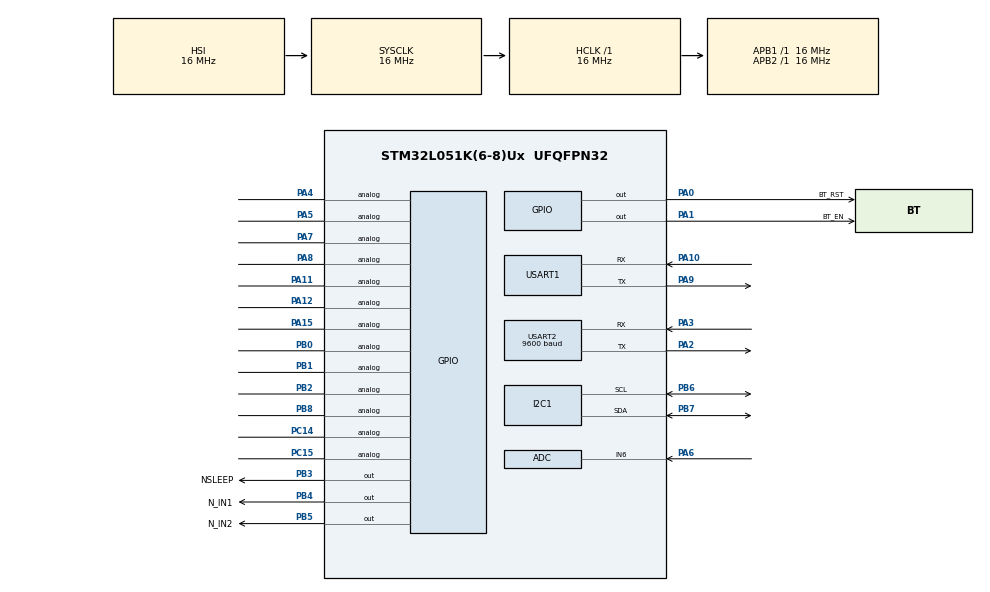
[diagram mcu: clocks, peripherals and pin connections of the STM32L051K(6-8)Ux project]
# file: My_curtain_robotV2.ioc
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Dma.Request0=USART2_RX
Dma.USART2_RX.0.Direction=DMA_PERIPH_TO_MEMORY
Dma.USART2_RX.0.Instance=DMA1_Channel5
Dma.USART2_RX.0.MemDataAlignment=DMA_MDATAALIGN_BYTE
Dma.USART2_RX.0.MemInc=DMA_MINC_ENABLE
Dma.USART2_RX.0.Mode=DMA_NORMAL
Dma.USART2_RX.0.PeriphDataAlignment=DMA_PDATAALIGN_BYTE
Dma.USART2_RX.0.PeriphInc=DMA_PINC_DISABLE
Dma.USART2_RX.0.Priority=DMA_PRIORITY_LOW
I2C1.Timing=0x00303D5B
Mcu.Family=STM32L0
Mcu.Name=STM32L051K(6-8)Ux
Mcu.Package=UFQFPN32
NVIC.DMA1_Channel4_5_6_7_IRQn=true\:0\:0\:false\:false\:true\:false\:true\:true
NVIC.I2C1_IRQn=true\:1\:0\:true\:false\:true\:true\:true\:true
NVIC.RTC_IRQn=true\:0\:0\:false\:false\:true\:true\:true\:true
NVIC.USART2_IRQn=true\:0\:0\:false\:false\:true\:true\:true\:true
PA0.GPIO_Label=BT_RST
PA0.Signal=GPIO_Output
PA1.GPIO_Label=BT_EN
PA1.PinState=GPIO_PIN_SET
PA1.Signal=GPIO_Output
PA10.Mode=Asynchronous
PA10.Signal=USART1_RX
PA11.Signal=GPIO_Analog
PA12.Signal=GPIO_Analog
PA13.Mode=Serial_Wire
PA13.Signal=SYS_SWDIO
PA14.Mode=Serial_Wire
PA14.Signal=SYS_SWCLK
PA15.Signal=GPIO_Analog
PA2.Mode=Asynchronous
PA2.Signal=USART2_TX
PA3.GPIO_PuPd=GPIO_PULLDOWN
PA3.Mode=Asynchronous
PA3.Signal=USART2_RX
PA4.Signal=GPIO_Analog
PA5.Signal=GPIO_Analog
PA6.Mode=IN6
PA6.Signal=ADC_IN6
PA7.Signal=GPIO_Analog
PA8.Signal=GPIO_Analog
PA9.Mode=Asynchronous
PA9.Signal=USART1_TX
PB0.Signal=GPIO_Analog
PB1.Signal=GPIO_Analog
PB2.Signal=GPIO_Analog
PB3.GPIO_Label=NSLEEP
PB3.Signal=GPIO_Output
PB4.GPIO_Label=N_IN1
PB4.Signal=GPIO_Output
PB5.GPIO_Label=N_IN2
PB5.Signal=GPIO_Output
PB6.GPIO_Pu=GPIO_PULLUP
PB6.Mode=I2C
PB6.Signal=I2C1_SCL
PB7.GPIO_Pu=GPIO_PULLUP
PB7.Mode=I2C
PB7.Signal=I2C1_SDA
PB8.Signal=GPIO_Analog
PC14-OSC32_IN.Signal=GPIO_Analog
PC15-OSC32_OUT.Signal=GPIO_Analog
ProjectManager.HeapSize=0x200
ProjectManager.StackSize=0x400
ProjectManager.TargetToolchain=MDK-ARM V5.27
RCC.AHBFreq_Value=16000000
RCC.APB1Freq_Value=16000000
RCC.APB1TimFreq_Value=16000000
RCC.APB2Freq_Value=16000000
RCC.APB2TimFreq_Value=16000000
RCC.HCLKFreq_Value=16000000
RCC.HSI16_VALUE=16000000
RCC.HSI_VALUE=16000000
RCC.LSE_VALUE=32768
RCC.MSI_VALUE=2097000
RCC.SYSCLKFreq_VALUE=16000000
RCC.SYSCLKSource=RCC_SYSCLKSOURCE_HSI
RCC.VCOOutputFreq_Value=48000000
RTC.SynchPrediv=289
RTC.WakeUpClock=RTC_WAKEUPCLOCK_CK_SPRE_16BITS
USART1.VirtualMode-Asynchronous=VM_ASYNC
USART2.BaudRate=9600
USART2.VirtualMode-Asynchronous=VM_ASYNC
VP_RTC_VS_RTC_Activate.Mode=RTC_Enabled
VP_RTC_VS_RTC_Calendar.Mode=RTC_Calendar
VP_RTC_VS_RTC_WakeUp_intern.Mode=WakeUp
board=custom

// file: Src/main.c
/* USER CODE BEGIN Header */
/**
  ******************************************************************************
  * @file           : main.c
  * @brief          : Main program body
  ******************************************************************************
  * @attention
  *
  * <h2><center>&copy; Copyright (c) 2020 STMicroelectronics.
  * All rights reserved.</center></h2>
  *
  * This software component is licensed by ST under BSD 3-Clause license,
  * the "License"; You may not use this file except in compliance with the
  * License. You may obtain a copy of the License at:
  *                        opensource.org/licenses/BSD-3-Clause
  *
  ******************************************************************************
  */
/* USER CODE END Header */

#include "main.h"
#include "adc.h"
#include "dma.h"
#include "i2c.h"
#include "rtc.h"
#include "usart.h"
#include "gpio.h"

/* USER CODE BEGIN Includes */
#include "opt3001.h"
#include "wakeup.h"
#include "my_string.h"
/* USER CODE END Includes */

void SystemClock_Config(void);

int main(void)
{
    /* USER CODE BEGIN 1 */
    uint16_t ID = 0;
    uint8_t recv_dat[6] = {0};
    uint8_t Find_flag =0;
    uint8_t Time_buf[20];
    uint32_t start_time,end_time,worktime=0;
    /* USER CODE END 1 */

    /* MCU Configuration--------------------------------------------------------*/

    /* Reset of all peripherals, Initializes the Flash interface and the Systick. */
    HAL_Init();

    /* Configure the system clock */
    SystemClock_Config();

    /* Initialize all configured peripherals */
    MX_GPIO_Init();
    MX_DMA_Init();
    MX_USART1_UART_Init();
    MX_USART2_UART_Init();
    MX_I2C1_Init();
    MX_RTC_Init();
    MX_ADC_Init();
    /* USER CODE BEGIN 2 */
    printf("################\r\n");
    EnableUsart_IT();
//	OPT_Read_ID(recv_dat);

//蓝牙工作状态
    HAL_GPIO_WritePin(BT_EN_GPIO_Port, BT_EN_Pin, GPIO_PIN_SET);         //下降沿唤醒 1-->0
    HAL_Delay(1000);
    HAL_GPIO_WritePin(BT_EN_GPIO_Port, BT_EN_Pin, GPIO_PIN_RESET);
    HAL_Delay(1000);   //10秒时间 手机APP反复搜索，都可以搜索到！！！
    printf("will deep sleep\r\n");
    time2Stamp();
//蓝牙休眠状态      手机APP反复搜索，搜索不到！！！
    HAL_GPIO_WritePin(BT_EN_GPIO_Port, BT_EN_Pin, GPIO_PIN_RESET);       //上升沿休眠  0-->1
    HAL_Delay(1000);
    HAL_GPIO_WritePin(BT_EN_GPIO_Port, BT_EN_Pin, GPIO_PIN_SET);
    HAL_Delay(1000);
//  测试低功耗：
    //RTC_Time_Config(10000); //等换了外部晶振再测试定时这功能吧
    SystemPower_Config();   //配置低功耗模式（GPIO相关）
    HAL_PWR_EnterSTOPMode(PWR_LOWPOWERREGULATOR_ON, PWR_STOPENTRY_WFI); //进入STOP低功耗模式
    SystemClockConfig_STOP(); //恢复外设时钟
    printf("WearkUP------>\r\n");
    /* USER CODE END 2 */

    /* Infinite loop */
    while (1)
    {

        /* USER CODE BEGIN 3 */
//        printf("SEND------>\r\n");
        if(Usart2type.UsartRecFlag ==1)
        {
            Usart2type.UsartRecFlag = 0;
            if( strstr((char *)Usart2type.Usart2RecBuffer,"ON") != NULL ) //开启指令
            {
                memset(Usart2type.Usart2RecBuffer, 0x00, sizeof(Usart2type.Usart2RecBuffer)); //先清空缓冲区
                printf("@@@@@@@@@@@@@@@@@\r\n");
                if(worktime != 0)  //已配置时间
                {
                    HAL_GPIO_WritePin(GPIOB, NSLEEP_Pin, GPIO_PIN_SET);  //关闭驱动休眠
                    HAL_GPIO_WritePin(GPIOB, N_IN1_Pin, GPIO_PIN_SET);   //正向
                    HAL_GPIO_WritePin(GPIOB, N_IN2_Pin, GPIO_PIN_RESET);
					HAL_Delay(worktime); //运行时间
					HAL_GPIO_WritePin(GPIOB, N_IN1_Pin, GPIO_PIN_SET);   //刹车
                    HAL_GPIO_WritePin(GPIOB, N_IN2_Pin, GPIO_PIN_SET);
                    HAL_GPIO_WritePin(GPIOB, NSLEEP_Pin, GPIO_PIN_RESET);  //驱动进入休眠
                    HAL_GPIO_WritePin(GPIOB, N_IN2_Pin, GPIO_PIN_RESET);   //关闭输出 降低功耗
                    HAL_GPIO_WritePin(GPIOB, N_IN1_Pin, GPIO_PIN_RESET);   //关闭输出 降低功耗
                }
            }
            if( strstr((char *)Usart2type.Usart2RecBuffer,"OFF") != NULL ) //关闭指令
            {
                printf("&&&&&&&&&&&&&&&&&&\r\n");
                memset(Usart2type.Usart2RecBuffer, 0x00, sizeof(Usart2type.Usart2RecBuffer)); //先清空缓冲区
                if(worktime != 0)  //已配置时间
                {
                   HAL_GPIO_WritePin(GPIOB, NSLEEP_Pin, GPIO_PIN_SET);   //关闭驱动休眠
                    HAL_GPIO_WritePin(GPIOB, N_IN1_Pin, GPIO_PIN_RESET);   //反向向
                    HAL_GPIO_WritePin(GPIOB, N_IN2_Pin, GPIO_PIN_SET);
					HAL_Delay(worktime); //运行时间
					HAL_GPIO_WritePin(GPIOB, N_IN1_Pin, GPIO_PIN_SET);   //刹车
                    HAL_GPIO_WritePin(GPIOB, N_IN2_Pin, GPIO_PIN_SET);
                    HAL_GPIO_WritePin(GPIOB, NSLEEP_Pin, GPIO_PIN_RESET);  //驱动进入休眠
                    HAL_GPIO_WritePin(GPIOB, N_IN2_Pin, GPIO_PIN_RESET);   //关闭输出 降低功耗
                    HAL_GPIO_WritePin(GPIOB, N_IN1_Pin, GPIO_PIN_RESET);   //关闭输出 降低功耗
                    //MCU 进入休眠
                    time2Stamp();
                    SystemPower_Config();   //配置低功耗模式（GPIO相关）
                    HAL_PWR_EnterSTOPMode(PWR_LOWPOWERREGULATOR_ON, PWR_STOPENTRY_WFI); //进入STOP低功耗模式
                }
            }
            if( strstr((char *)Usart2type.Usart2RecBuffer,"S") != NULL ) //初始化时钟指令
            {
                if( strstr((char *)Usart2type.Usart2RecBuffer,"T") != NULL )
                {
                    memset(Time_buf, 0x00, sizeof(Time_buf)); //先清空缓冲区
                    Find_flag =  Find_string((char *)Usart2type.Usart2RecBuffer,"S","T",(char *)Time_buf);
                    printf("time: %s,%d",Time_buf,(uint32_t )atoi((char *)Time_buf));
                    if(Find_flag) {
                        Calibration_Times((char *)Time_buf);
                    }
                }
                memset(Usart2type.Usart2RecBuffer, 0x00, sizeof(Usart2type.Usart2RecBuffer)); //先清空缓冲区
            }
            // HAL_GetTick();    //获取系统运行时间   uint32_t
            if( strstr((char *)Usart2type.Usart2RecBuffer,"C") != NULL ) //初始化时钟指令
            {
                if(start_time == 0) //第一次初始化
                {
                    start_time = HAL_GetTick();
                    HAL_GPIO_WritePin(GPIOB, NSLEEP_Pin, GPIO_PIN_SET);  //关闭驱动休眠
//                HAL_Delay(500);
                    HAL_GPIO_WritePin(GPIOB, N_IN1_Pin, GPIO_PIN_SET);   //正向
                    HAL_GPIO_WritePin(GPIOB, N_IN2_Pin, GPIO_PIN_RESET);
                } else
                {
                    HAL_GPIO_WritePin(GPIOB, N_IN1_Pin, GPIO_PIN_SET);   //刹车
                    HAL_GPIO_WritePin(GPIOB, N_IN2_Pin, GPIO_PIN_SET);

                    HAL_GPIO_WritePin(GPIOB, NSLEEP_Pin, GPIO_PIN_RESET);  //驱动进入休眠
                    HAL_GPIO_WritePin(GPIOB, N_IN2_Pin, GPIO_PIN_RESET);   //关闭输出 降低功耗
                    HAL_GPIO_WritePin(GPIOB, N_IN1_Pin, GPIO_PIN_RESET);   //关闭输出 降低功耗
                    end_time = HAL_GetTick();
                    worktime = end_time-start_time;
                    start_time = 0;
                    end_time = 0;
                    printf("worktime:%d\r\n",worktime);
                }
                memset(Usart2type.Usart2RecBuffer, 0x00, sizeof(Usart2type.Usart2RecBuffer)); //先清空缓冲区
            }

        }
        HAL_Delay(50);
    }
    /* USER CODE END 3 */
}

void SystemClock_Config(void)
{
    RCC_OscInitTypeDef RCC_OscInitStruct = {0};
    RCC_ClkInitTypeDef RCC_ClkInitStruct = {0};
    RCC_PeriphCLKInitTypeDef PeriphClkInit = {0};

    /** Configure the main internal regulator output voltage
    */
    __HAL_PWR_VOLTAGESCALING_CONFIG(PWR_REGULATOR_VOLTAGE_SCALE1);
    /** Initializes the CPU, AHB and APB busses clocks
    */
    RCC_OscInitStruct.OscillatorType = RCC_OSCILLATORTYPE_HSI|RCC_OSCILLATORTYPE_LSI;
    RCC_OscInitStruct.HSIState = RCC_HSI_ON;
    RCC_OscInitStruct.HSICalibrationValue = RCC_HSICALIBRATION_DEFAULT;
    RCC_OscInitStruct.LSIState = RCC_LSI_ON;
    RCC_OscInitStruct.PLL.PLLState = RCC_PLL_NONE;
    if (HAL_RCC_OscConfig(&RCC_OscInitStruct) != HAL_OK)
    {
        Error_Handler();
    }
    /** Initializes the CPU, AHB and APB busses clocks
    */
    RCC_ClkInitStruct.ClockType = RCC_CLOCKTYPE_HCLK|RCC_CLOCKTYPE_SYSCLK
                                  |RCC_CLOCKTYPE_PCLK1|RCC_CLOCKTYPE_PCLK2;
    RCC_ClkInitStruct.SYSCLKSource = RCC_SYSCLKSOURCE_HSI;
    RCC_ClkInitStruct.AHBCLKDivider = RCC_SYSCLK_DIV1;
    RCC_ClkInitStruct.APB1CLKDivider = RCC_HCLK_DIV1;
    RCC_ClkInitStruct.APB2CLKDivider = RCC_HCLK_DIV1;

    if (HAL_RCC_ClockConfig(&RCC_ClkInitStruct, FLASH_LATENCY_0) != HAL_OK)
    {
        Error_Handler();
    }
    PeriphClkInit.PeriphClockSelection = RCC_PERIPHCLK_USART1|RCC_PERIPHCLK_USART2
                                         |RCC_PERIPHCLK_I2C1|RCC_PERIPHCLK_RTC;
    PeriphClkInit.Usart1ClockSelection = RCC_USART1CLKSOURCE_PCLK2;
    PeriphClkInit.Usart2ClockSelection = RCC_USART2CLKSOURCE_PCLK1;
    PeriphClkInit.I2c1ClockSelection = RCC_I2C1CLKSOURCE_PCLK1;
    PeriphClkInit.RTCClockSelection = RCC_RTCCLKSOURCE_LSI;
    if (HAL_RCCEx_PeriphCLKConfig(&PeriphClkInit) != HAL_OK)
    {
        Error_Handler();
    }
}

void Error_Handler(void)
{
}

/************************ (C) COPYRIGHT STMicroelectronics *****END OF FILE****/
